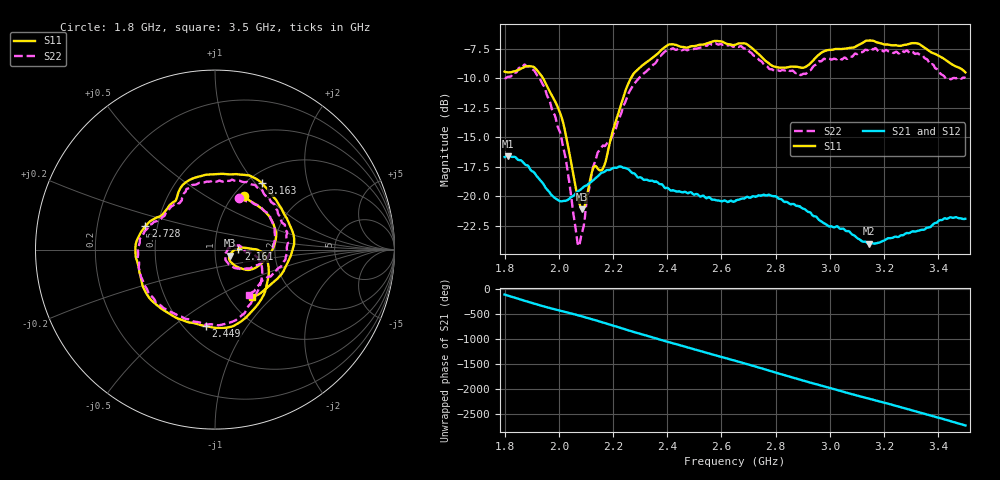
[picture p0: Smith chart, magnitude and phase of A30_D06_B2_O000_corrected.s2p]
! Created with skrf 1.9.0 (http://scikit-rf.org).
# Hz S RI R 50.0
!freq ReS11 ImS11 ReS21 ImS21 ReS12 ImS12 ReS22 ImS22
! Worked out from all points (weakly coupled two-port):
!   1601 points, 1.8 GHz to 3.5 GHz, reference 50 ohm
!   highest |S21| = -16.61 dB at 1.814 GHz (marker M1); lowest = -24.0 dB at 3.144 GHz (marker M2)
!   lowest |S11| = -21.1 dB at 2.087 GHz (marker M3), VSWR 1.19, Z = 58.7 - j4.08 ohm
!   |S11| at or under -10 dB: 1.942 GHz to 2.266 GHz (324.6 MHz wide, 15.4 % of centre)
!   |S22| runs from -24.2 to -7.0 dB; largest |S21 - S12| = 0.0025
!   S11 on the Smith chart (normalised r, x): 1.8 GHz: 1.12, +0.75; 2.161 GHz: 1.30, +0.01; 2.449 GHz: 0.64, -0.66; 2.728 GHz: 0.43, +0.13; 3.163 GHz: 1.16, +1.08; 3.5 GHz: 1.27, -0.75
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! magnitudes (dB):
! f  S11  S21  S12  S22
! 1.8 GHz  -9.5  -16.7  -16.7  -10.0
! 1.814 GHz  -9.5  -16.6  -16.6  -9.9
! 1.88 GHz  -9.0  -17.4  -17.4  -9.0
! 1.942 GHz  -10.0  -18.9  -18.9  -10.6
! 2.011 GHz  -13.4  -20.4  -20.4  -15.3
! 2.067 GHz  -19.7  -19.7  -19.6  -23.6
! 2.084 GHz  -21.1  -19.4  -19.3  -23.2
! 2.087 GHz  -21.1  -19.3  -19.3  -23.0
! 2.127 GHz  -17.6  -18.6  -18.6  -17.5
! 2.161 GHz  -17.7  -18.0  -17.9  -15.7
! 2.261 GHz  -10.2  -17.8  -17.8  -11.1
! 2.367 GHz  -7.9  -18.9  -18.8  -8.3
! 2.449 GHz  -7.3  -19.6  -19.6  -7.6
! 2.65 GHz  -7.2  -20.4  -20.4  -7.3
! 2.728 GHz  -7.8  -20.0  -20.0  -8.2
! 2.807 GHz  -9.1  -20.1  -20.1  -9.3
! 2.934 GHz  -8.6  -21.5  -21.5  -9.2
! 3.144 GHz  -6.8  -24.0  -23.9  -7.5
! 3.163 GHz  -6.9  -24.0  -24.0  -7.5
! 3.217 GHz  -7.2  -23.5  -23.5  -7.8
! 3.325 GHz  -7.1  -22.9  -22.9  -7.9
! 3.5 GHz  -9.5  -21.9  -21.9  -10.0
